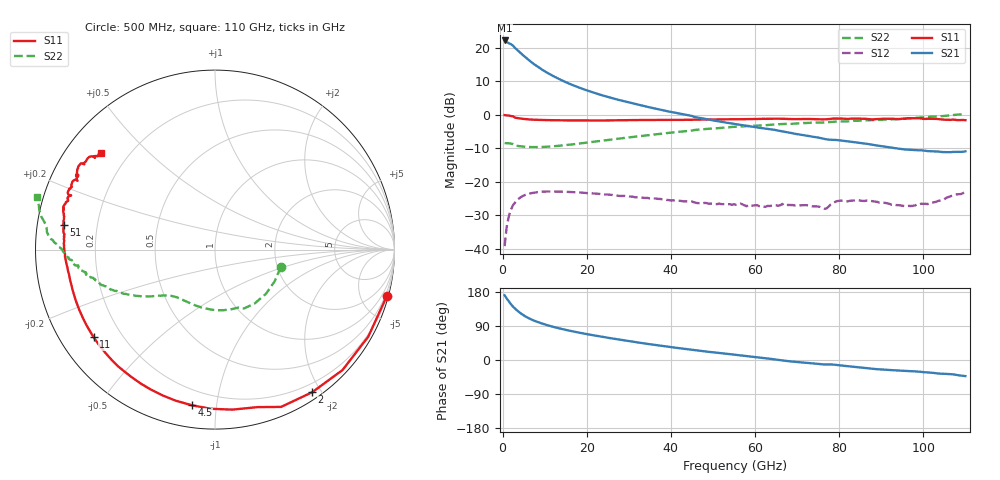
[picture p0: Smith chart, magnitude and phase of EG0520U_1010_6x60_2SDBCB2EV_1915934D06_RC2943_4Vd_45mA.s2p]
!File name = EG0520U_1010_6x60_2SDBCB2EV_1915934D06_RC2943_4Vd_45mA.s2p
!Base file name = EG0520U_1010_6x60_2SDBCB2EV_1915934D06_RC2943
!Date = 8/23/2019
!Time = 1:06 PM
!Test duration(min) = 0.15
!Test = S-Parameters
!MPTS version = 8.91.5
!State File = C:\Data\PNA\20190821205423\S-Parameters_2019-08-23.sta
!Cal File =
!ComputerName = CMPE-LAB-6
!Comments =
!Attenuation = 0
!Z0 = 50
!Input Power(dBm) = -13.00
!Device ID = EG0520U_1010_6x60_2SDBCB2EV
!Row = 29
!Column = 43
!Technology = QPHT09
!Lot/Wafer = 1915934D06
!Gate Size = 360
!Mask = EG0520
!Cal Standards = GaAs BCB
!Cal Kit = EG2306
!Job Number = 20190821205423
!Device Type = FET
!set_Vg(v) = -1.500
!set_Vd(v) = 4.000
!set_Vd(mA) = 45.000
!file_name = EG0520U_1010_6x60_2SDBCB2EV_1915934D06_RC2943_4Vd_45mA.s2p
!Vd(V) = 4.000
!Vd(mA) = 45.025
!Vg(V) = -0.495
!Vg(mA) = -0.003
# GHz  S  DB  R  50
!%	Freq(GHz)  s11(dB)  s11(deg)  s21(dB)  s21(deg)  s12(dB)  s12(deg)  s22(dB)  s22(deg)
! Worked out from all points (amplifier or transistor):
!   220 points, 500 MHz to 110 GHz, reference 50 ohm
!   highest |S21| = 22.3 dB at 500 MHz (marker M1)
!   |S21| within 3 dB of that: start of sweep to 3.643 GHz
!   unconditionally stable (mu >= 1): 31.08 GHz to 96.3 GHz
!   at 18.5 GHz: K = 0.58, MSG = 15.6 dB, |S12| = -23.2 dB
!   at 55.5 GHz: K = 1.67, MAG = 7.2 dB, |S12| = -26.9 dB
!   at 110 GHz: K = -1.37, MSG = 6.0 dB, |S12| = -22.9 dB
!   S11 on the Smith chart (normalised r, x): 500 MHz: 0.24, -7.59; 2 GHz: 0.09, -1.89; 4.5 GHz: 0.11, -0.86; 11 GHz: 0.10, -0.32; 51 GHz: 0.08, +0.08; 110 GHz: 0.10, +0.36
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0.5  -0.07 -15.0  22.25 170.8  -39.26 80.7  -8.42 -14.8
1  -0.16 -29.6  21.80 162.2  -33.50 73.2  -8.49 -28.1
1.5  -0.20 -43.3  21.43 154.6  -30.36 65.8  -8.50 -41.0
2  -0.34 -55.7  21.16 147.2  -28.37 59.0  -8.57 -53.6
2.5  -0.44 -67.2  20.69 140.7  -27.00 53.1  -8.74 -63.7
3  -0.83 -74.9  20.00 135.5  -26.20 48.7  -9.15 -67.9
3.5  -0.94 -83.7  19.42 130.4  -25.46 44.3  -9.26 -75.6
4.5  -1.14 -98.4  18.27 121.7  -24.48 36.9  -9.43 -88.8
5.5  -1.28 -110.0  17.17 114.6  -23.89 31.2  -9.57 -98.8
7  -1.42 -123.1  15.64 106.2  -23.38 24.7  -9.64 -109.7
9  -1.51 -135.3  13.86 97.7  -23.02 18.7  -9.62 -118.8
11  -1.57 -144.2  12.33 90.7  -22.91 14.1  -9.49 -125.2
14.5  -1.64 -154.9  10.09 80.8  -22.98 8.6  -9.11 -132.2
19  -1.68 -163.7  7.79 70.5  -23.27 4.1  -8.46 -137.4
26.5  -1.64 -172.9  4.84 56.1  -23.99 0.7  -7.27 -143.1
37  -1.50 178.8  1.69 38.4  -25.12 0.8  -5.73 -150.3
51  -1.37 170.8  -1.86 19.2  -26.69 6.8  -4.00 -160.7
55.5  -1.32 168.4  -2.77 13.6  -26.86 8.0  -3.52 -163.1
73.5  -1.26 159.9  -6.48 -8.7  -27.32 8.5  -2.31 -172.2
92  -1.19 151.3  -9.70 -26.6  -26.61 -6.2  -1.35 179.7
101  -1.16 146.8  -10.83 -32.7  -26.69 0.1  -0.59 174.7
110  -1.59 139.9  -10.91 -42.5  -22.95 -11.9  0.29 163.4
